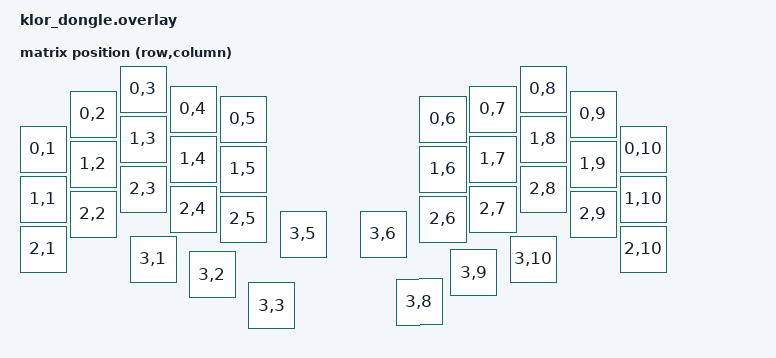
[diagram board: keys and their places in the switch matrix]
#include <dt-bindings/zmk/matrix_transform.h>
#include <physical_layouts.dtsi>

/ {
    chosen {
      zephyr,display = &oled;
      zmk,kscan = &mock_kscan;
      zmk,physical-layout = &physical_layout;
    };

    mock_kscan: mock_kscan_0 {
      compatible = "zmk,kscan-mock";
      columns = <0>;
      rows = <0>;
      events = <0>;
    };

    default_transform: keymap_transform_0 {
      compatible = "zmk,matrix-transform";
      columns = <10>;
      rows = <4>;
      map = <
        RC(0,1) RC(0,2) RC(0,3) RC(0,4) RC(0,5)                 RC(0,6) RC(0,7) RC(0,8) RC(0,9) RC(0,10)
        RC(1,1) RC(1,2) RC(1,3) RC(1,4) RC(1,5)                 RC(1,6) RC(1,7) RC(1,8) RC(1,9) RC(1,10)
        RC(2,1) RC(2,2) RC(2,3) RC(2,4) RC(2,5) RC(3,5) RC(3,6) RC(2,6) RC(2,7) RC(2,8) RC(2,9) RC(2,10)
                        RC(3,1) RC(3,2) RC(3,3)                 RC(3,8) RC(3,9) RC(3,10)
		  >;
    };

    physical_layout: physical_layout {
        compatible = "zmk,physical-layout";
        display-name = "Saegewerk";
        transform = <&default_transform>;
        kscan = <&mock_kscan>;
        keys  //                     w   h    x    y     rot    rx    ry
            = <&key_physical_attrs 100 100    0  120       0     0     0>
            , <&key_physical_attrs 100 100  100   50       0     0     0>
            , <&key_physical_attrs 100 100  200    0       0     0     0>
            , <&key_physical_attrs 100 100  300   40       0     0     0>
            , <&key_physical_attrs 100 100  400   60       0     0     0>
            , <&key_physical_attrs 100 100  800   60       0     0     0>
            , <&key_physical_attrs 100 100  900   40       0     0     0>
            , <&key_physical_attrs 100 100 1000    0       0     0     0>
            , <&key_physical_attrs 100 100 1100   50       0     0     0>
            , <&key_physical_attrs 100 100 1200  120       0     0     0>
            , <&key_physical_attrs 100 100    0  220       0     0     0>
            , <&key_physical_attrs 100 100  100  150       0     0     0>
            , <&key_physical_attrs 100 100  200  100       0     0     0>
            , <&key_physical_attrs 100 100  300  140       0     0     0>
            , <&key_physical_attrs 100 100  400  160       0     0     0>
            , <&key_physical_attrs 100 100  800  160       0     0     0>
            , <&key_physical_attrs 100 100  900  140       0     0     0>
            , <&key_physical_attrs 100 100 1000  100       0     0     0>
            , <&key_physical_attrs 100 100 1100  150       0     0     0>
            , <&key_physical_attrs 100 100 1200  220       0     0     0>
            , <&key_physical_attrs 100 100    0  320       0     0     0>
            , <&key_physical_attrs 100 100  100  250       0     0     0>
            , <&key_physical_attrs 100 100  200  200       0     0     0>
            , <&key_physical_attrs 100 100  300  240       0     0     0>
            , <&key_physical_attrs 100 100  400  260       0     0     0>
            , <&key_physical_attrs 100 100  520  290       0     0     0>
            , <&key_physical_attrs 100 100  680  290       0     0     0>
            , <&key_physical_attrs 100 100  800  260       0     0     0>
            , <&key_physical_attrs 100 100  900  240       0     0     0>
            , <&key_physical_attrs 100 100 1000  200       0     0     0>
            , <&key_physical_attrs 100 100 1100  250       0     0     0>
            , <&key_physical_attrs 100 100 1200  320       0     0     0>
            , <&key_physical_attrs 100 100  220  340       0     0     0>
            , <&key_physical_attrs 100 100  340  370       15    0     0>
            , <&key_physical_attrs 100 100  460  430       30    0     0>
            , <&key_physical_attrs 100 100  750  430      (-30)  0     0>
            , <&key_physical_attrs 100 100  860  370      (-15)  0     0>
            , <&key_physical_attrs 100 100  980  340       0     0     0>
            ;
    };
};

&pro_micro_i2c {
	status = "okay";

	oled: ssd1306@3c {
		label = "DISPLAY";
		compatible = "solomon,ssd1306fb";
		reg = <0x3c>;
		width = <128>;
		height = <64>;
		segment-offset = <0>;
		page-offset = <0>;
		display-offset = <0>;
		multiplex-ratio = <63>;
		prechargep = <0x22>;
        inversion-on;
	};
};
